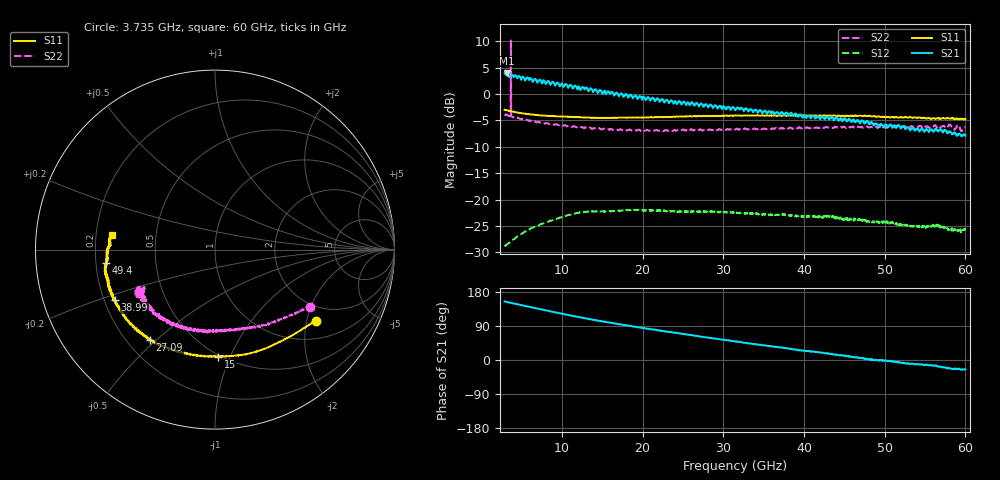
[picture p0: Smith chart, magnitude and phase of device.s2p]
!Correction: S11(Full 2 Port(1,2))
!S21(Full 2 Port(1,2))
!S12(Full 2 Port(1,2))
!S22(Full 2 Port(1,2))
!S2P File: Measurements: S11, S21, S12, S22:
# Hz S  RI  R 50
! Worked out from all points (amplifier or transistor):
!   1536 points, 2.917 GHz to 60 GHz, reference 50 ohm
!   highest |S21| = 4.0 dB at 3.178 GHz (marker M1)
!   |S21| within 3 dB of that: start of sweep to 11.89 GHz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
!   unconditionally stable (mu >= 1): start of sweep to 3.674 GHz; 3.722 GHz to end of sweep
!   at 12.44 GHz: K = 2.87, MAG = 4.3 dB, |S12| = -22.4 dB
!   at 31.48 GHz: K = 4.49, MAG = 0.2 dB, |S12| = -22.4 dB
!   at 60 GHz: K = 11.75, MAG = -4.9 dB, |S12| = -25.4 dB
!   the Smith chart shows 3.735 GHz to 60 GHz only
!   S11 on the Smith chart (normalised r, x): 3.735 GHz: 1.51, -2.27; 15 GHz: 0.49, -0.90; 27.09 GHz: 0.29, -0.48; 38.99 GHz: 0.24, -0.22; 49.4 GHz: 0.24, -0.06; 60 GHz: 0.27, +0.07
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2.917188e9  0.611 -0.3607  -1.425 0.6793  0.0273 0.0238  0.5662 -0.2948
3.1775e9  0.5973 -0.3731  -1.42 0.713  0.0284 0.0242  0.5619 -0.3025
3.400625e9  0.5806 -0.3809  -1.338 0.7105  0.0294 0.0249  0.5382 -0.3087
3.437812e9  0.5796 -0.3806  -1.298 0.6938  0.0296 0.025  0.5376 -0.3087
3.735312e9  0.5609 -0.3964  -1.345 0.7565  0.0309 0.0258  0.531 -0.3195
3.958438e9  0.5474 -0.4034  -1.286 0.7565  0.0324 0.0266  0.5076 -0.3229
3.995625e9  0.5465 -0.4036  -1.256 0.7431  0.0323 0.0267  0.5082 -0.3229
5.929375e9  0.4387 -0.4726  -1.076 0.8862  0.0427 0.0304  0.4227 -0.3624
8.309375e9  0.315 -0.5359  -0.853 1.024  0.0535 0.0305  0.3463 -0.3973
1.243719e10  0.1185 -0.5905  -0.4243 1.052  0.072 0.0227  0.2242 -0.4333
1.500312e10  0.0191 -0.5959  -0.2095 0.9939  0.0764 0.0136  0.1542 -0.4376
1.827562e10  -0.1011 -0.5906  -0.00371 0.936  0.0792 0.00509  0.0878 -0.4479
2.195719e10  -0.2254 -0.5608  0.1798 0.8773  0.0786 -0.00464  0.0161 -0.4488
2.708906e10  -0.3617 -0.5038  0.3668 0.6914  0.0765 -0.0118  -0.0595 -0.4587
3.147719e10  -0.4523 -0.4332  0.4602 0.5313  0.0727 -0.0206  -0.1359 -0.4416
3.898906e10  -0.5569 -0.2806  0.5795 0.3035  0.0658 -0.0275  -0.2386 -0.4131
4.099719e10  -0.5744 -0.2471  0.564 0.2303  0.0623 -0.0295  -0.2672 -0.4095
4.48275e10  -0.5965 -0.1746  0.555 0.113  0.0562 -0.033  -0.3138 -0.3713
4.940156e10  -0.606 -0.0759  0.5093 -0.00801  0.0511 -0.0325  -0.3645 -0.333
5.051719e10  -0.6011 -0.0596  0.4948 -0.0222  0.0501 -0.0346  -0.3742 -0.3265
5.828938e10  -0.5847 0.0614  0.3903 -0.1695  0.041 -0.0302  -0.416 -0.2608
6e10  -0.5737 0.0824  0.3645 -0.1706  0.0431 -0.0319  -0.4245 -0.2331
